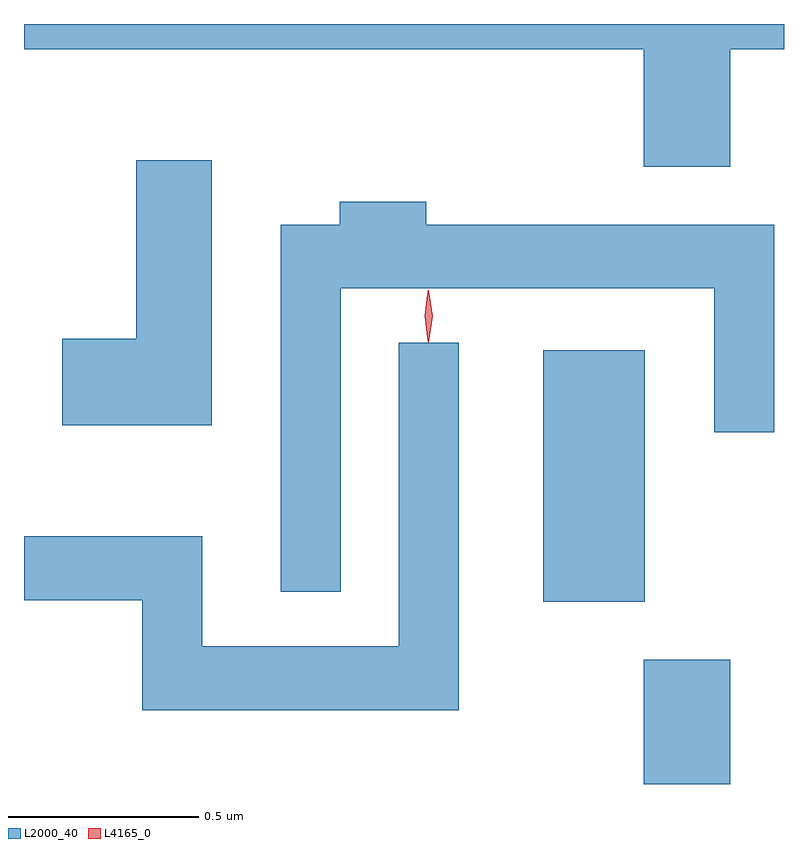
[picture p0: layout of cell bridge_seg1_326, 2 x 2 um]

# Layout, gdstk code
import gdstk
lib = gdstk.Library(unit=1e-6, precision=1e-09)
def R(c, l, rs):  # rectangles x0, y0, x1, y1
    for r in rs: c.add(gdstk.rectangle(r[:2], r[2:], *l))
def P(c, l, *ps):  # polygons
    for p in ps: c.add(gdstk.Polygon(p, *l))
L2000_40 = (2000, 40)
L4165_0 = (4165, 0)

bridge_seg1_326 = lib.new_cell('bridge_seg1_326')
R(bridge_seg1_326, L2000_40, [(878.561,888.762,878.789,889.089), (878.296,889.241,878.564,889.904)])
P(bridge_seg1_326, L2000_40, [(878.789,890.696),(878.93,890.696),(878.93,890.762),(876.93,890.762),(876.93,890.696),(878.561,890.696),(878.561,890.386),(878.789,890.386)],
  [(877.424,890.404),(877.226,890.404),(877.226,889.934),(877.031,889.934),(877.031,889.706),(877.424,889.706)],
  [(877.764,890.066),(878.746,890.066),(878.746,889.688),(878.904,889.688),(878.904,890.234),(877.989,890.234),(877.989,890.294),(877.761,890.294),(877.761,890.234),(877.606,890.234),(877.606,889.268),(877.764,889.268)],
  [(878.074,889.923),(877.916,889.923),(877.916,889.124),(877.399,889.124),(877.399,889.414),(876.93,889.414),(876.93,889.246),(877.241,889.246),(877.241,888.956),(878.074,888.956)])
P(bridge_seg1_326, L4165_0, [(877.994,889.924),(877.985,889.993),(877.994,890.062),(877.995,890.063),(877.995,890.062),(878.005,889.993),(877.995,889.924),(877.995,889.924)],
  [(877.993,889.927),(877.984,889.994),(877.993,890.06),(877.994,890.061),(877.994,890.06),(878.004,889.994),(877.994,889.927),(877.994,889.927)])

lib.write_gds('bridge_seg1_326.gds')
